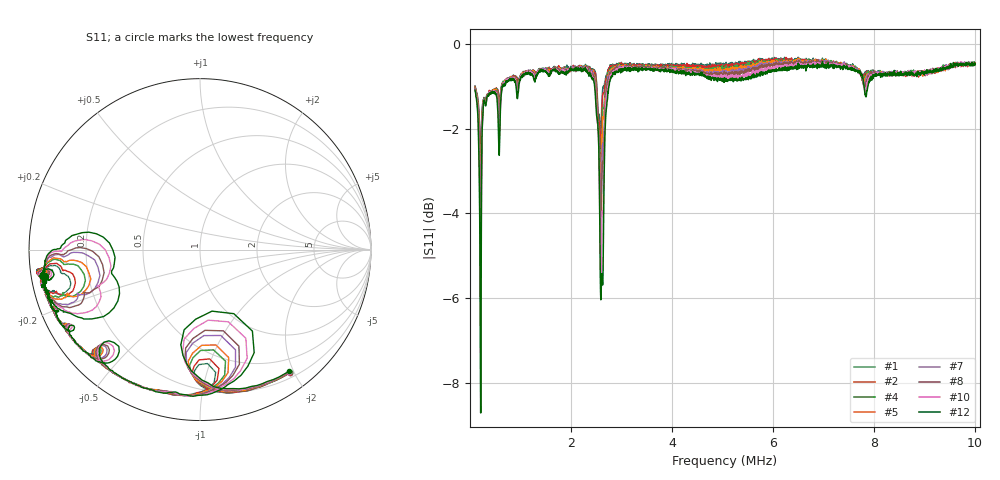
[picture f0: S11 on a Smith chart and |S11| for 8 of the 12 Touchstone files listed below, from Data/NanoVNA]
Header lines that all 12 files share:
# HZ S RI R 50
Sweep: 100 kHz to 9.999 MHz
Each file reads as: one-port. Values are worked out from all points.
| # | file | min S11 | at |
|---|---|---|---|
| 1 | C2_P140VDC.s1p | -3.5 dB | 217.7 kHz |
| 2 | C2_P150VDC.s1p | -3.9 dB | 217.7 kHz |
| 3 | C2_P160VDC.s1p | -4.2 dB | 217.7 kHz |
| 4 | C2_P170VDC.s1p | -4.6 dB | 212.8 kHz |
| 5 | C2_P180VDC.s1p | -5.0 dB | 212.8 kHz |
| 6 | C2_P190VDC.s1p | -5.5 dB | 212.8 kHz |
| 7 | C2_P200VDC.s1p | -6.0 dB | 212.8 kHz |
| 8 | C2_P210VDC.s1p | -6.5 dB | 212.8 kHz |
| 9 | C2_P220VDC.s1p | -7.1 dB | 212.8 kHz |
| 10 | C2_P230VDC.s1p | -7.6 dB | 212.8 kHz |
| 11 | C2_P240VDC.s1p | -8.1 dB | 212.8 kHz |
| 12 | C2_P250VDC.s1p | -8.7 dB | 212.8 kHz |
